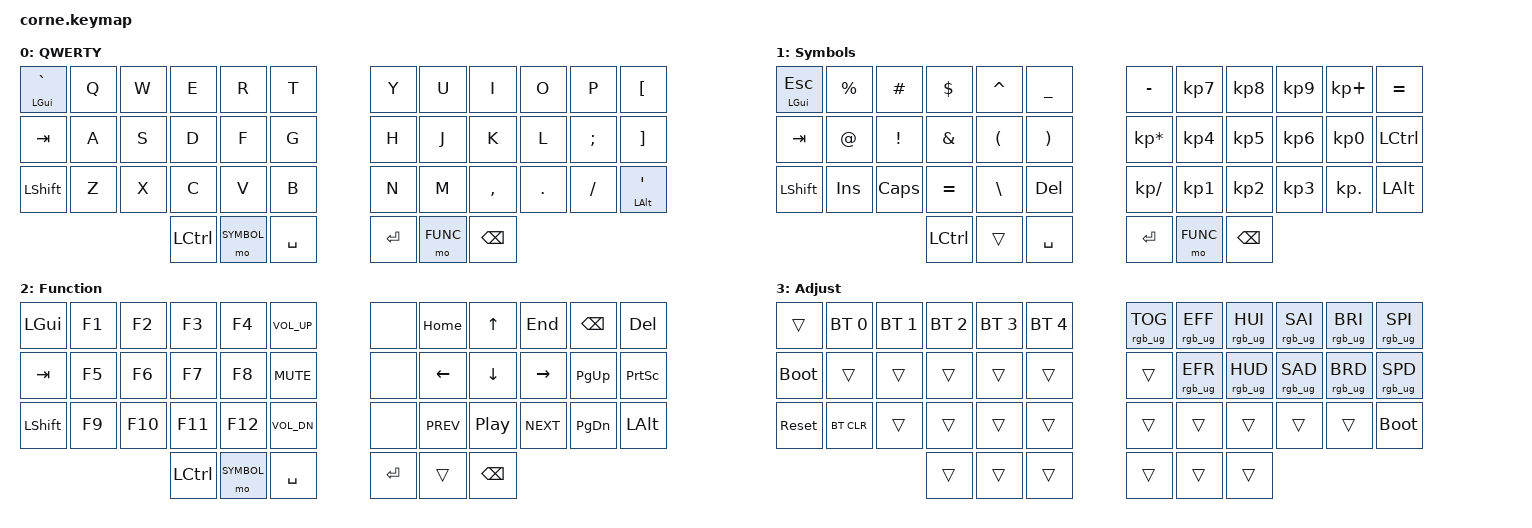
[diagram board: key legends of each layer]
#include <behaviors.dtsi>
#include <dt-bindings/zmk/keys.h>
#include <dt-bindings/zmk/bt.h>
#include <dt-bindings/zmk/rgb.h>

#define QWERTY  0
#define SYMBOL  1
#define FUNC    2
#define ADJUST  3

/ {
    // SYMBOL + FUNC held together activates ADJUST.
    conditional_layers {
        compatible = "zmk,conditional-layers";
        tri_layer {
            if-layers = <SYMBOL FUNC>;
            then-layer = <ADJUST>;
        };
    };

    keymap {
        compatible = "zmk,keymap";

        // QWERTY base. Top-left is a mod-tap: tap = `, hold = LGUI.
        // Bottom-right pinky is a mod-tap: tap = ', hold = LALT.
        qwerty_layer {
            display-name = "QWERTY";
            bindings = <
&mt LGUI GRAVE  &kp Q  &kp W  &kp E     &kp R       &kp T          &kp Y     &kp U     &kp I      &kp O    &kp P         &kp LBKT
&kp TAB         &kp A  &kp S  &kp D     &kp F       &kp G          &kp H     &kp J     &kp K      &kp L    &kp SEMI      &kp RBKT
&kp LSHFT       &kp Z  &kp X  &kp C     &kp V       &kp B          &kp N     &kp M     &kp COMMA  &kp DOT  &kp FSLH      &mt LALT SQT
                              &kp LCTRL &mo SYMBOL  &kp SPACE      &kp RET   &mo FUNC  &kp BSPC
            >;
        };

        // Symbols (left half) + numpad (right half). Numpad uses real KP_* codes.
        symbol_layer {
            display-name = "Symbols";
            bindings = <
&mt LGUI ESC  &kp PRCNT  &kp HASH  &kp DLLR  &kp CARET  &kp UNDER      &kp MINUS         &kp KP_N7  &kp KP_N8  &kp KP_N9  &kp KP_PLUS      &kp EQUAL
&kp TAB       &kp AT     &kp EXCL  &kp AMPS  &kp LPAR   &kp RPAR       &kp KP_MULTIPLY   &kp KP_N4  &kp KP_N5  &kp KP_N6  &kp KP_N0        &kp LCTRL
&kp LSHFT     &kp INS    &kp CAPS  &kp EQUAL &kp BSLH   &kp DEL        &kp KP_DIVIDE     &kp KP_N1  &kp KP_N2  &kp KP_N3  &kp KP_DOT       &kp LALT
                                   &kp LCTRL &trans     &kp SPACE      &kp RET           &mo FUNC   &kp BSPC
            >;
        };

        // F-keys + media on the left, navigation on the right.
        func_layer {
            display-name = "Function";
            bindings = <
&kp LGUI    &kp F1   &kp F2   &kp F3   &kp F4   &kp C_VOL_UP      &none   &kp HOME    &kp UP    &kp END    &kp BSPC   &kp DEL
&kp TAB     &kp F5   &kp F6   &kp F7   &kp F8   &kp C_MUTE        &none   &kp LEFT    &kp DOWN  &kp RIGHT  &kp PG_UP  &kp PSCRN
&kp LSHFT   &kp F9   &kp F10  &kp F11  &kp F12  &kp C_VOL_DN      &none   &kp C_PREV  &kp C_PP  &kp C_NEXT &kp PG_DN  &kp LALT
                                       &kp LCTRL &mo SYMBOL &kp SPACE     &kp RET   &trans   &kp BSPC
            >;
        };

        // ADJUST: BT, RGB, sys reset, bootloader.
        // Reachable by holding SYMBOL + FUNC (both inner thumbs) at once.
        adjust_layer {
            display-name = "Adjust";
            bindings = <
&trans          &bt BT_SEL 0  &bt BT_SEL 1  &bt BT_SEL 2  &bt BT_SEL 3  &bt BT_SEL 4      &rgb_ug RGB_TOG  &rgb_ug RGB_EFF  &rgb_ug RGB_HUI  &rgb_ug RGB_SAI  &rgb_ug RGB_BRI  &rgb_ug RGB_SPI
&bootloader     &trans        &trans        &trans        &trans        &trans            &trans           &rgb_ug RGB_EFR  &rgb_ug RGB_HUD  &rgb_ug RGB_SAD  &rgb_ug RGB_BRD  &rgb_ug RGB_SPD
&sys_reset      &bt BT_CLR    &trans        &trans        &trans        &trans            &trans           &trans           &trans           &trans           &trans           &bootloader
                                                          &trans        &trans        &trans        &trans  &trans  &trans
            >;
        };

        // Reserved layers for ZMK Studio (added later from the UI without rebuild).
        extra1 { status = "reserved"; };
        extra2 { status = "reserved"; };
        extra3 { status = "reserved"; };
    };
};
